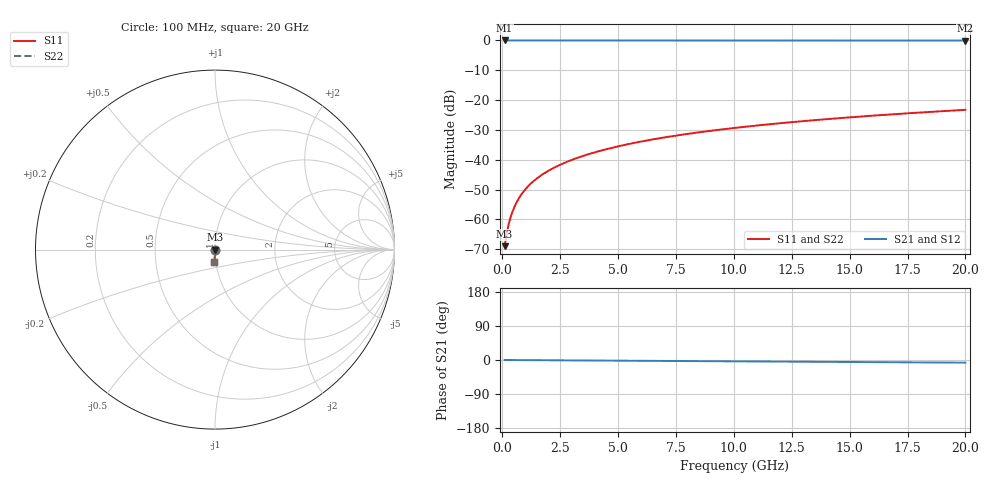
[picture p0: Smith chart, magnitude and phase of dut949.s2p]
! Touchstone file exported from HFSS 2026.1.0
!  File:  C:/ffzhzh/LocalFiles/Ansys_Project_Files/temp_train_TSV_949_1783187251_55132.aedt
!  Generated:  01:48:54 AM Jul  5, 2026
!  Design:  TSV
!  Project:  temp_train_TSV_949_1783187251_55132
! Variables:
!  h_bsmrdl = 2um
!  h_ox = 20um
!  h_rdl = 5um
!  h_sub = 62.78um
!  h_tmrdl = 5um
!  h_tsv = 62.78um
!  h_via = 3um
!  l_bsmrdl = 300um
!  l_sub = 412.94um
!  l_tmrdl = 200um
!  m_sub = 200um
!  pitch = 16.27um
!  r_tsv = 6.47um
!  s_tmrdl = 10um
!  w_bsmrdl = 18um
!  w_sub = 500um
!  w_tmrdl = 12um
!  x_tsv_center1 = 206um
!  x_tsv_center2 = 524um
!  x_tsv_center3 = 736um
!  x_tsv_center4 = 1054um
!  x_tsv_center5 = 1266um
!  x_tsv_center6 = 1584um
# GHz S MA R 50.000000
! Terminal data exported
! Port[1] = TSV1_1_T1
! Port[2] = TSV1_1_T2
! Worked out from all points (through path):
!   200 points, 100 MHz to 20 GHz, reference 50 ohm
!   highest |S21| = 0.00 dB at 100 MHz (marker M1); lowest = 0.0 dB at 20 GHz (marker M2)
!   lowest |S11| = -69.0 dB at 100 MHz (marker M3), VSWR 1.00, Z = 50 - j0.0274 ohm
!   |S11| at or under -10 dB: start of sweep to end of sweep
!   |S22| runs from -69.0 to -23.3 dB; largest |S21 - S12| = 2.1e-15
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0.1  0.0003546 -50.7  0.9998 -0.0  0.9998 -0.0  0.0003546 -50.7
! Gamma 0 0 0 0
! Port Impedance 50 0 50 0
0.2  0.0006128 -65.8  0.9997 -0.1  0.9997 -0.1  0.0006128 -65.8
0.3  0.0009045 -71.5  0.9997 -0.1  0.9997 -0.1  0.0009045 -71.5
0.4  0.001214 -74.6  0.9997 -0.2  0.9997 -0.2  0.001214 -74.6
0.5  0.001535 -76.6  0.9996 -0.2  0.9996 -0.2  0.001535 -76.6
0.7  0.002194 -79.3  0.9996 -0.3  0.9996 -0.3  0.002194 -79.3
0.8  0.002527 -80.3  0.9996 -0.3  0.9996 -0.3  0.002527 -80.3
1  0.003196 -81.8  0.9995 -0.4  0.9995 -0.4  0.003196 -81.8
1.2  0.003866 -83.0  0.9995 -0.4  0.9995 -0.4  0.003866 -83.0
1.4  0.004535 -83.8  0.9995 -0.5  0.9995 -0.5  0.004535 -83.8
1.7  0.00554 -84.8  0.9994 -0.6  0.9994 -0.6  0.00554 -84.8
2  0.006545 -85.5  0.9994 -0.7  0.9994 -0.7  0.006545 -85.5
2.7  0.008899 -86.6  0.9993 -1.0  0.9993 -1.0  0.008899 -86.6
3.5  0.01161 -87.4  0.9992 -1.3  0.9992 -1.3  0.01161 -87.4
4.2  0.01399 -88.0  0.999 -1.5  0.999 -1.5  0.01399 -88.0
5  0.01673 -88.5  0.9989 -1.8  0.9989 -1.8  0.01673 -88.5
6.8  0.02293 -89.6  0.9986 -2.4  0.9986 -2.4  0.02293 -89.6
8.3  0.02812 -90.4  0.9983 -2.9  0.9983 -2.9  0.02812 -90.4
10.1  0.03435 -91.3  0.998 -3.6  0.998 -3.6  0.03435 -91.3
13.4  0.04577 -92.7  0.9974 -4.7  0.9974 -4.7  0.04577 -92.7
16.7  0.05718 -94.1  0.9966 -5.9  0.9966 -5.9  0.05718 -94.1
20  0.06859 -95.4  0.9956 -7.0  0.9956 -7.0  0.06859 -95.4
